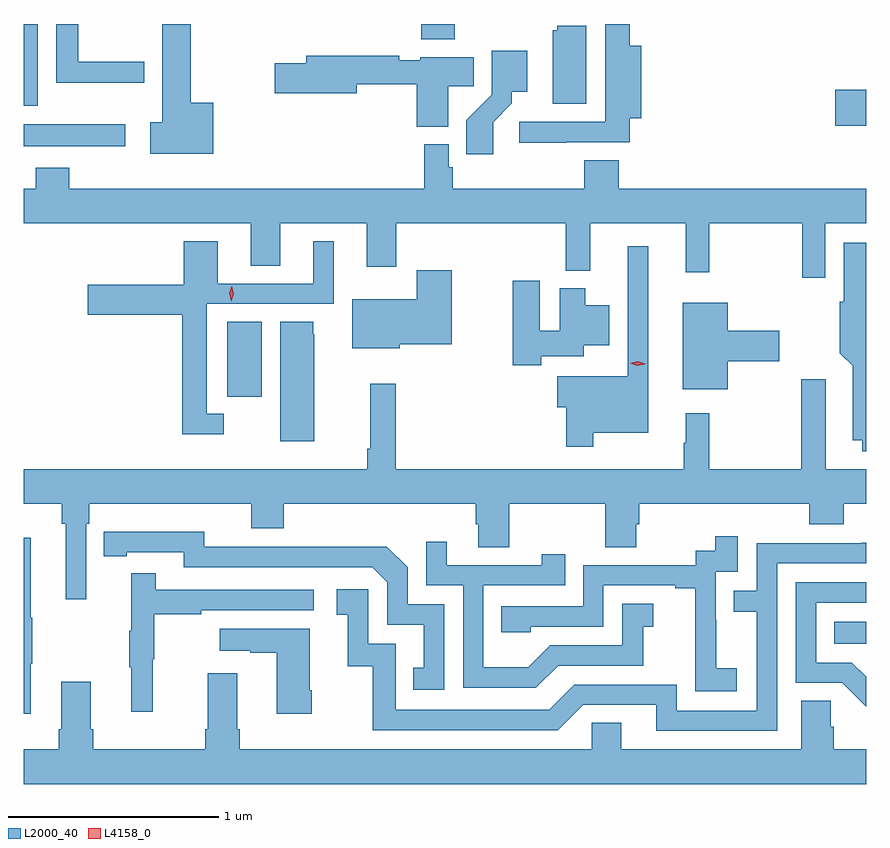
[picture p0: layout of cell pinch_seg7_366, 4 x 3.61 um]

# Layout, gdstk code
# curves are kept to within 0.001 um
import gdstk
lib = gdstk.Library(unit=1e-6, precision=1e-09)
def R(c, l, rs):  # rectangles x0, y0, x1, y1
    for r in rs: c.add(gdstk.rectangle(r[:2], r[2:], *l))
def P(c, l, *ps):  # polygons
    for p in ps: c.add(gdstk.Polygon(p, *l))
L2000_40 = (2000, 40)
L4158_0 = (4158, 0)

pinch_seg7_366 = lib.new_cell('pinch_seg7_366')
R(pinch_seg7_366, L2000_40, [(377.338,1001.282,377.49,1001.386), (374.456,1002.456,374.62,1002.812), (373.49,1003.646,373.972,1003.75), (377.343,1003.742,377.49,1003.913), (373.49,1003.838,373.555,1004.226), (375.377,1004.153,375.537,1004.226)])
P(pinch_seg7_366, L2000_40, [(374.389,1003.852),(374.282,1003.852),(374.282,1004.226),(374.147,1004.226),(374.147,1003.76),(374.091,1003.76),(374.091,1003.61),(374.389,1003.61)],
  [(374.062,1004.046),(373.747,1004.046),(373.747,1004.226),(373.643,1004.226),(373.643,1003.946),(374.062,1003.946)],
  [(376.067,1003.665),(376.367,1003.665),(376.367,1003.778),(376.421,1003.778),(376.421,1004.122),(376.367,1004.122),(376.367,1004.226),(376.251,1004.226),(376.251,1004.018),(376.25,1004.018),(376.25,1003.761),(375.843,1003.761),(375.843,1003.663),(376.067,1003.663)],
  [(376.162,1004.217),(376.023,1004.217),(376.023,1004.196),(376.001,1004.196),(376.001,1003.848),(376.162,1003.848)],
  [(375.718,1003.759),(375.808,1003.849),(375.808,1003.904),(375.88,1003.904),(375.88,1004.098),(375.711,1004.098),(375.711,1003.889),(375.592,1003.77),(375.592,1003.608),(375.718,1003.608)],
  [(375.505,1003.93),(375.626,1003.93),(375.626,1004.068),(375.372,1004.068),(375.372,1004.055),(375.272,1004.055),(375.272,1004.075),(374.831,1004.075),(374.831,1004.039),(374.682,1004.039),(374.682,1003.897),(375.07,1003.897),(375.07,1003.939),(375.356,1003.939),(375.356,1003.739),(375.505,1003.739)],
  [(377.295,1003.28),(377.49,1003.28),(377.49,1003.444),(376.316,1003.444),(376.316,1003.58),(376.151,1003.58),(376.151,1003.444),(375.527,1003.444),(375.527,1003.545),(375.507,1003.545),(375.507,1003.654),(375.391,1003.654),(375.391,1003.444),(373.706,1003.444),(373.706,1003.543),(373.546,1003.543),(373.546,1003.444),(373.49,1003.444),(373.49,1003.28),(374.567,1003.28),(374.567,1003.078),(374.707,1003.078),(374.707,1003.28),(375.119,1003.28),(375.119,1003.074),(375.259,1003.074),(375.259,1003.28),(376.063,1003.28),(376.063,1003.055),(376.181,1003.055),(376.181,1003.28),(376.634,1003.28),(376.634,1003.047),(376.744,1003.047),(376.744,1003.28),(377.187,1003.28),(377.187,1003.02),(377.295,1003.02)],
  [(374.44,1002.375),(374.358,1002.375),(374.358,1002.897),(374.962,1002.897),(374.962,1003.195),(374.864,1003.195),(374.864,1002.993),(374.41,1002.993),(374.41,1003.195),(374.249,1003.195),(374.249,1002.987),(373.794,1002.987),(373.794,1002.845),(374.242,1002.845),(374.242,1002.278),(374.44,1002.278)],
  [(377.49,1003.186),(377.384,1003.186),(377.384,1002.906),(377.366,1002.906),(377.366,1002.661),(377.426,1002.602),(377.426,1002.248),(377.471,1002.248),(377.471,1002.197),(377.49,1002.197)],
  [(376.195,1002.284),(376.456,1002.284),(376.456,1003.171),(376.359,1003.171),(376.359,1002.553),(376.022,1002.553),(376.022,1002.406),(376.066,1002.406),(376.066,1002.219),(376.195,1002.219)],
  [(375.276,1002.704),(375.522,1002.704),(375.522,1003.057),(375.356,1003.057),(375.356,1002.919),(375.05,1002.919),(375.05,1002.686),(375.276,1002.686)],
  [(375.948,1002.647),(376.15,1002.647),(376.15,1002.701),(376.27,1002.701),(376.27,1002.889),(376.156,1002.889),(376.156,1002.97),(376.034,1002.97),(376.034,1002.77),(375.94,1002.77),(375.94,1003.006),(375.811,1003.006),(375.811,1002.605),(375.948,1002.605)],
  [(376.834,1002.623),(377.077,1002.623),(377.077,1002.77),(376.834,1002.77),(376.834,1002.901),(376.619,1002.901),(376.619,1002.491),(376.834,1002.491)],
  [(374.869,1002.753),(374.863,1002.753),(374.863,1002.812),(374.708,1002.812),(374.708,1002.243),(374.869,1002.243)],
  [(373.785,1001.852),(373.799,1001.852),(373.799,1001.948),(374.57,1001.948),(374.57,1001.831),(374.723,1001.831),(374.723,1001.948),(375.635,1001.948),(375.635,1001.85),(375.647,1001.85),(375.647,1001.74),(375.795,1001.74),(375.795,1001.948),(376.252,1001.948),(376.252,1001.74),(376.399,1001.74),(376.399,1001.85),(376.412,1001.85),(376.412,1001.948),(377.219,1001.948),(377.219,1001.849),(377.384,1001.849),(377.384,1001.948),(377.49,1001.948),(377.49,1002.112),(377.299,1002.112),(377.299,1002.538),(377.182,1002.538),(377.182,1002.112),(376.744,1002.112),(376.744,1002.376),(376.634,1002.376),(376.634,1002.236),(376.623,1002.236),(376.623,1002.112),(375.257,1002.112),(375.257,1002.517),(375.136,1002.517),(375.136,1002.208),(375.121,1002.208),(375.121,1002.112),(373.49,1002.112),(373.49,1001.948),(373.669,1001.948),(373.669,1001.852),(373.688,1001.852),(373.688,1001.493),(373.785,1001.493)],
  [(375.486,1001.469),(375.312,1001.469),(375.312,1001.646),(375.214,1001.744),(374.806,1001.744),(374.806,1001.742),(374.346,1001.742),(374.346,1001.815),(373.87,1001.814),(373.87,1001.698),(373.978,1001.698),(373.978,1001.718),(374.25,1001.718),(374.25,1001.646),(375.144,1001.646),(375.216,1001.574),(375.216,1001.373),(375.389,1001.373),(375.389,1001.169),(375.34,1001.169),(375.34,1001.064),(375.486,1001.064)],
  [(376.876,1001.167),(376.778,1001.167),(376.778,1001.396),(376.776,1001.396),(376.776,1001.625),(376.881,1001.625),(376.881,1001.794),(376.773,1001.794),(376.773,1001.724),(376.68,1001.724),(376.68,1001.655),(376.146,1001.655),(376.146,1001.46),(375.757,1001.46),(375.757,1001.337),(375.897,1001.337),(375.897,1001.364),(376.242,1001.364),(376.242,1001.559),(376.583,1001.559),(376.583,1001.547),(376.679,1001.547),(376.679,1001.263),(376.678,1001.263),(376.678,1001.057),(376.876,1001.057)],
  [(373.522,1001.188),(373.53,1001.188),(373.53,1001.405),(373.522,1001.405),(373.522,1001.785),(373.49,1001.785),(373.49,1000.95),(373.522,1000.95)],
  [(376.027,1001.178),(376.431,1001.178),(376.431,1001.363),(376.48,1001.363),(376.48,1001.473),(376.332,1001.473),(376.332,1001.274),(375.99,1001.274),(375.886,1001.17),(375.672,1001.17),(375.672,1001.559),(376.061,1001.559),(376.061,1001.707),(375.95,1001.707),(375.95,1001.655),(375.499,1001.655),(375.499,1001.767),(375.402,1001.767),(375.402,1001.559),(375.576,1001.559),(375.576,1001.073),(375.922,1001.073)],
  [(377.067,1001.664),(377.49,1001.664),(377.49,1001.762),(377.467,1001.762),(377.467,1001.76),(376.971,1001.76),(376.971,1001.535),(376.861,1001.535),(376.861,1001.434),(376.971,1001.434),(376.971,1000.965),(376.59,1000.965),(376.59,1001.088),(376.104,1001.088),(375.984,1000.968),(375.255,1000.968),(375.255,1001.283),(375.126,1001.283),(375.126,1001.542),(374.976,1001.542),(374.976,1001.421),(375.029,1001.421),(375.029,1001.175),(375.147,1001.175),(375.147,1000.872),(376.026,1000.872),(376.146,1000.992),(376.493,1000.992),(376.493,1000.869),(377.067,1000.869)],
  [(374.102,1001.208),(374.11,1001.208),(374.11,1001.422),(374.333,1001.422),(374.333,1001.442),(374.866,1001.442),(374.866,1001.538),(374.117,1001.538),(374.117,1001.617),(374,1001.617),(374,1001.345),(373.989,1001.345),(373.989,1001.171),(374,1001.171),(374,1000.959),(374.102,1000.959)],
  [(377.49,1001.125),(377.422,1001.193),(377.253,1001.193),(377.253,1001.478),(377.49,1001.478),(377.49,1001.574),(377.157,1001.574),(377.157,1001.097),(377.376,1001.097),(377.489,1000.985),(377.49,1000.985)],
  [(374.856,1001.062),(374.848,1001.062),(374.848,1001.353),(374.421,1001.353),(374.421,1001.249),(374.564,1001.249),(374.564,1001.239),(374.69,1001.239),(374.69,1000.95),(374.856,1000.95)],
  [(377.49,1000.78),(377.336,1000.78),(377.336,1000.889),(377.322,1000.889),(377.322,1001.012),(377.183,1001.012),(377.183,1000.78),(376.327,1000.78),(376.327,1000.907),(376.188,1000.907),(376.188,1000.78),(374.516,1000.78),(374.516,1000.876),(374.503,1000.876),(374.503,1001.143),(374.363,1001.143),(374.363,1000.876),(374.351,1000.876),(374.351,1000.78),(373.82,1000.78),(373.82,1000.876),(373.807,1000.876),(373.807,1001.101),(373.667,1001.101),(373.667,1000.876),(373.655,1000.876),(373.655,1000.78),(373.49,1000.78),(373.49,1000.616),(377.49,1000.616)])
P(pinch_seg7_366, L4158_0, [(376.404,1002.603),(376.369,1002.615),(376.369,1002.615),(376.369,1002.615),(376.405,1002.623),(376.44,1002.612),(376.44,1002.612),(376.44,1002.611)],
  [(374.474,1002.909),(374.474,1002.909),(374.466,1002.946),(374.477,1002.981),(374.477,1002.981),(374.477,1002.981),(374.486,1002.945),(374.475,1002.909)])

lib.write_gds('pinch_seg7_366.gds')
